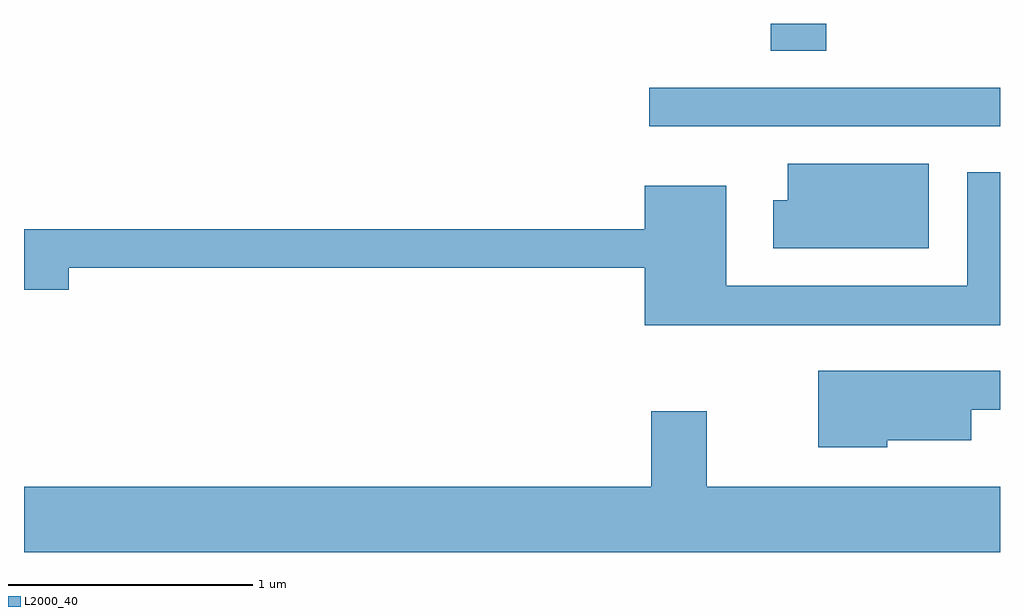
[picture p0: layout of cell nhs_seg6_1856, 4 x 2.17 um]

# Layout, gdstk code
import gdstk
lib = gdstk.Library(unit=1e-6, precision=1e-09)
def R(c, l, rs):  # rectangles x0, y0, x1, y1
    for r in rs: c.add(gdstk.rectangle(r[:2], r[2:], *l))
def P(c, l, *ps):  # polygons
    for p in ps: c.add(gdstk.Polygon(p, *l))
L2000_40 = (2000, 40)

nhs_seg6_1856 = lib.new_cell('nhs_seg6_1856')
R(nhs_seg6_1856, L2000_40, [(244.173,1591.741,245.611,1591.899), (244.671,1592.051,244.899,1592.162)])
P(nhs_seg6_1856, L2000_40, [(245.319,1591.589),(244.741,1591.589),(244.741,1591.439),(244.681,1591.439),(244.681,1591.241),(245.319,1591.241)],
  [(245.611,1591.554),(245.476,1591.554),(245.476,1591.089),(244.489,1591.089),(244.489,1591.499),(244.156,1591.499),(244.156,1591.319),(241.611,1591.319),(241.611,1591.071),(241.794,1591.071),(241.794,1591.161),(244.156,1591.161),(244.156,1590.926),(245.611,1590.926)],
  [(245.149,1590.456),(245.494,1590.456),(245.494,1590.581),(245.611,1590.581),(245.611,1590.739),(244.866,1590.739),(244.866,1590.426),(245.149,1590.426)],
  [(245.611,1590.264),(244.409,1590.264),(244.409,1590.574),(244.181,1590.574),(244.181,1590.264),(241.611,1590.264),(241.611,1589.996),(245.611,1589.996)])

lib.write_gds('nhs_seg6_1856.gds')
